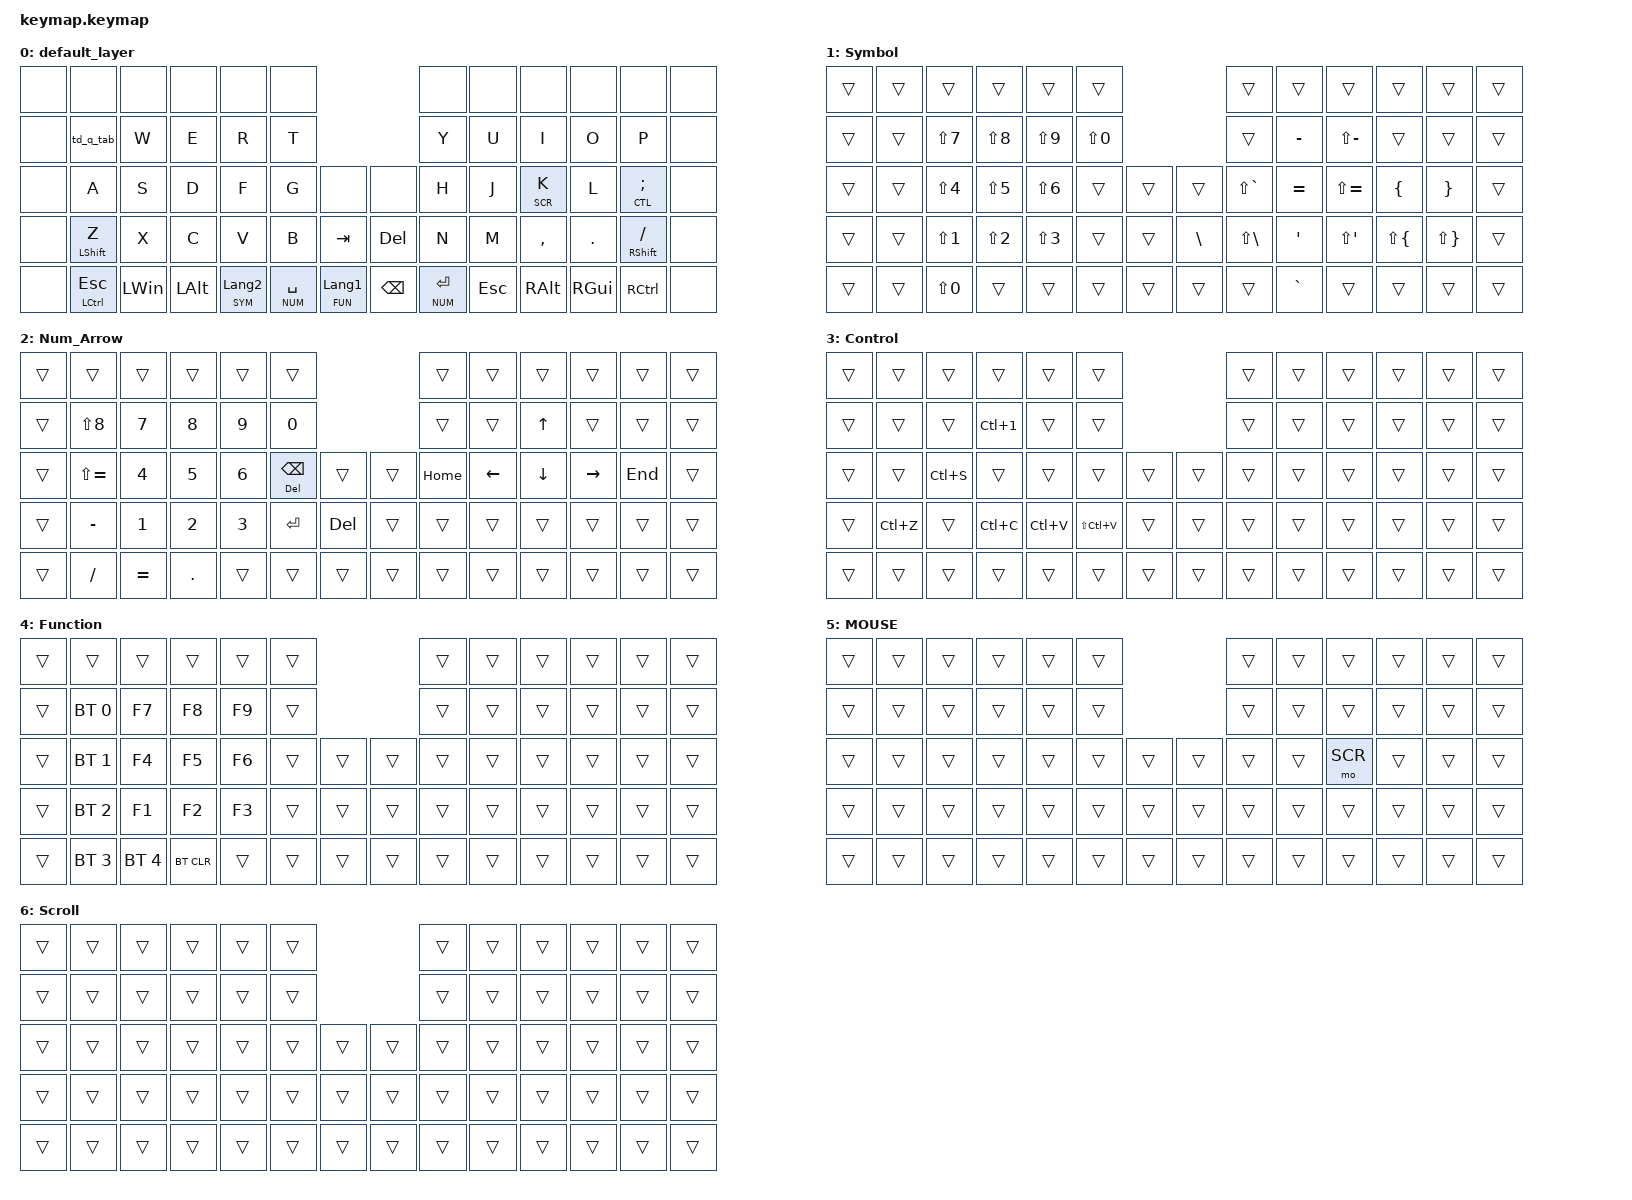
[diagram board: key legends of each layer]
/*
 * torabo-tsuki LP (S) 用キーマップ — seigi-kbd/zmk-config-roBa からの移植
 *
 * 【重要】このファイルは L サイズ(66ポジション)の順で書く。
 * torabo-tsuki-lp の firmware は S/M/L 共通で、chosen physical-layout が L 固定のため。
 * S 基板で実際に反応するのは以下の 44 ポジションだけ:
 *     13-22 / 25-29,32-36 / 39-50 / 53-64
 * 行頭・行末の &none は S 基板に存在しないキー(L/M サイズ用)。
 *
 * さらに、トラックボール搭載側は島(キー1個ぶんのセル)を切り離すため、
 * 右TB構成では L63 が物理的に存在しない(左TBなら L54)。
 *
 * 移植元との差分:
 *   - roBa 2行目の内側2キーは torabo S に無い → 右内側の ESC / GRAVE は L61 へ退避
 *   - roBa に無い右手下段2キー(L62/L63)は暫定で RALT/RGUI
 *   - エンコーダの sensor-bindings は該当部品が無いので削除
 */

#include <behaviors.dtsi>
#include <dt-bindings/zmk/bt.h>
#include <dt-bindings/zmk/keys.h>
#include <dt-bindings/zmk/pointing.h>

#define DEF 0
#define SYM 1
#define NUM 2
#define CTL 3
#define FUN 4
#define MSE 5
#define SCR 6

&mt {
    flavor = "tap-preferred";
    tapping-term-ms = <200>;
    quick-tap-ms = <175>;
};

&lt {
    flavor = "tap-preferred";
    tapping-term-ms = <200>;
    quick-tap-ms = <175>;
};

/ {
    /*
     * 【コンボは全廃】(2026-08-14 ユーザー判断)
     *
     * roBa 側にあったコンボ8種は、git履歴を追った結果すべて fork 元
     * (kumamuk-git/zmk-config-roBa, masaki氏のコミット 8d624c2 "add config" 2024-08-16)由来で、
     * ユーザー自身が設定したものは1つも無かった。使っていない機能をホームポジション上に
     * 置いておくと誤爆の温床にしかならないため全廃する。
     *
     *   削除したもの: tab(S+D) / shift_tab(D+F) / muhennkann(S+A) / double_quotation(L+;)
     *                 / eq(C+V) / left_click(J+K) / right_click(K+L) / middle_click(J+K+L)
     *
     * Tab は**ユーザー自身が設定した** Q のタップダンス(&td_q_tab, コミット feddded 2026-05-06
     * "Add tap-dance: Q single / TAB on double tap")で出せるので、コンボ廃止による実害はない。
     * 無変換も左親指(&lt_to_layer_0 SYM LANGUAGE_2)のタップに残っている。
     */

    macros {
        to_layer_0: to_layer_0 {
            compatible = "zmk,behavior-macro-one-param";
            #binding-cells = <1>;
            bindings = <&to DEF &macro_param_1to1 &kp MACRO_PLACEHOLDER>;
            label = "TO_LAYER_0";
        };
    };

    behaviors {
        lt_to_layer_0: lt_to_layer_0 {
            compatible = "zmk,behavior-hold-tap";
            label = "LAYER_TAP_TO_0";
            bindings = <&mo>, <&to_layer_0>;

            #binding-cells = <2>;
            tapping-term-ms = <200>;
        };

        td_q_tab: td_q_tab {
            compatible = "zmk,behavior-tap-dance";
            #binding-cells = <0>;
            tapping-term-ms = <200>;
            bindings = <&kp Q>, <&kp TAB>;
        };

        ht_bspc_del: ht_bspc_del {
            compatible = "zmk,behavior-hold-tap";
            label = "HT_BSPC_DEL";
            #binding-cells = <2>;
            flavor = "tap-preferred";
            tapping-term-ms = <200>;
            quick-tap-ms = <200>;
            bindings = <&kp>, <&kp>;
        };
    };

    keymap {
        compatible = "zmk,keymap";

        default_layer {
            bindings = <
&none  &none             &none         &none         &none                          &none                                            &none          &none          &none      &none    &none                 &none
&none  &td_q_tab         &kp W         &kp E         &kp R                          &kp T                                            &kp Y          &kp U          &kp I      &kp O    &kp P                 &none
&none  &kp A             &kp S         &kp D         &kp F                          &kp G          &none            &none            &kp H          &kp J          &lt SCR K  &kp L    &lt CTL SEMI          &none
&none  &mt LEFT_SHIFT Z  &kp X         &kp C         &kp V                          &kp B          &kp TAB          &kp DEL          &kp N          &kp M          &kp COMMA  &kp DOT  &mt RIGHT_SHIFT FSLH  &none
&none  &mt LCTRL ESCAPE  &kp LEFT_WIN  &kp LEFT_ALT  &lt_to_layer_0 SYM LANGUAGE_2  &lt NUM SPACE  &lt_to_layer_0 FUN LANGUAGE_1     &kp BACKSPACE  &lt NUM ENTER  &kp ESCAPE  &kp RALT  &kp RGUI             &kp RCTRL  &none
            >;
        };

        Symbol {
            bindings = <
&trans  &trans  &trans            &trans            &trans            &trans                              &trans             &trans         &trans              &trans               &trans     &trans
&trans  &trans  &kp LS(NUMBER_7)  &kp LS(NUMBER_8)  &kp LS(NUMBER_9)  &kp LS(NUMBER_0)                    &trans             &kp MINUS      &kp LS(MINUS)       &trans               &trans     &trans
&trans  &trans  &kp LS(NUMBER_4)  &kp LS(NUMBER_5)  &kp LS(NUMBER_6)  &trans            &trans  &trans    &kp LS(GRAVE)      &kp EQUAL      &kp LS(EQUAL)       &kp LEFT_BRACE       &kp RIGHT_BRACE  &trans
&trans  &trans  &kp LS(NUMBER_1)  &kp LS(NUMBER_2)  &kp LS(NUMBER_3)  &trans            &trans  &kp BACKSLASH  &kp LS(BACKSLASH)  &kp APOS  &kp LS(APOS)        &kp LS(LEFT_BRACE)   &kp LS(RIGHT_BRACE)  &trans
&trans  &trans  &kp LS(NUMBER_0)  &trans            &trans            &trans            &trans  &trans    &trans             &kp GRAVE      &trans              &trans               &trans     &trans
            >;
        };

        Num_Arrow {
            bindings = <
&trans  &trans            &trans        &trans        &trans        &trans                                  &trans    &trans     &trans        &trans     &trans     &trans
&trans  &kp LS(NUMBER_8)  &kp NUMBER_7  &kp NUMBER_8  &kp NUMBER_9  &kp NUMBER_0                            &trans    &trans     &kp UP        &trans     &trans     &trans
&trans  &kp LS(EQUAL)     &kp NUMBER_4  &kp NUMBER_5  &kp NUMBER_6  &ht_bspc_del DEL BSPC  &trans  &trans   &kp HOME  &kp LEFT   &kp DOWN      &kp RIGHT  &kp END    &trans
&trans  &kp MINUS         &kp NUMBER_1  &kp NUMBER_2  &kp NUMBER_3  &kp ENTER              &kp DELETE  &trans  &trans  &trans    &trans        &trans     &trans     &trans
&trans  &kp SLASH         &kp EQUAL     &kp PERIOD    &trans        &trans                 &trans  &trans   &trans    &trans     &trans        &trans     &trans     &trans
            >;
        };

        Control {
            bindings = <
&trans  &trans     &trans     &trans            &trans     &trans                          &trans  &trans  &trans  &trans  &trans  &trans
&trans  &trans     &trans     &kp LC(NUMBER_1)  &trans     &trans                          &trans  &trans  &trans  &trans  &trans  &trans
&trans  &trans     &kp LC(S)  &trans            &trans     &trans          &trans  &trans  &trans  &trans  &trans  &trans  &trans  &trans
&trans  &kp LC(Z)  &trans     &kp LC(C)         &kp LC(V)  &kp LS(LC(V))   &trans  &trans  &trans  &trans  &trans  &trans  &trans  &trans
&trans  &trans     &trans     &trans            &trans     &trans          &trans  &trans  &trans  &trans  &trans  &trans  &trans  &trans
            >;
        };

        Function {
            bindings = <
&trans  &trans        &trans        &trans      &trans  &trans                  &trans  &trans  &trans  &trans  &trans  &trans
&trans  &bt BT_SEL 0  &kp F7        &kp F8      &kp F9  &trans                  &trans  &trans  &trans  &trans  &trans  &trans
&trans  &bt BT_SEL 1  &kp F4        &kp F5      &kp F6  &trans  &trans  &trans  &trans  &trans  &trans  &trans  &trans  &trans
&trans  &bt BT_SEL 2  &kp F1        &kp F2      &kp F3  &trans  &trans  &trans  &trans  &trans  &trans  &trans  &trans  &trans
&trans  &bt BT_SEL 3  &bt BT_SEL 4  &bt BT_CLR  &trans  &trans  &trans  &trans  &trans  &trans  &trans  &trans  &trans  &trans
            >;
        };

        MOUSE {
            bindings = <
&trans  &trans  &trans  &trans  &trans  &trans                  &trans  &trans  &trans   &trans  &trans  &trans
&trans  &trans  &trans  &trans  &trans  &trans                  &trans  &trans  &trans   &trans  &trans  &trans
&trans  &trans  &trans  &trans  &trans  &trans  &trans  &trans  &trans  &trans  &mo SCR  &trans  &trans  &trans
&trans  &trans  &trans  &trans  &trans  &trans  &trans  &trans  &trans  &trans  &trans   &trans  &trans  &trans
&trans  &trans  &trans  &trans  &trans  &trans  &trans  &trans  &trans  &trans  &trans   &trans  &trans  &trans
            >;
        };

        Scroll {
            bindings = <
&trans  &trans  &trans  &trans  &trans  &trans                  &trans  &trans  &trans  &trans  &trans  &trans
&trans  &trans  &trans  &trans  &trans  &trans                  &trans  &trans  &trans  &trans  &trans  &trans
&trans  &trans  &trans  &trans  &trans  &trans  &trans  &trans  &trans  &trans  &trans  &trans  &trans  &trans
&trans  &trans  &trans  &trans  &trans  &trans  &trans  &trans  &trans  &trans  &trans  &trans  &trans  &trans
&trans  &trans  &trans  &trans  &trans  &trans  &trans  &trans  &trans  &trans  &trans  &trans  &trans  &trans
            >;
        };
    };
};
